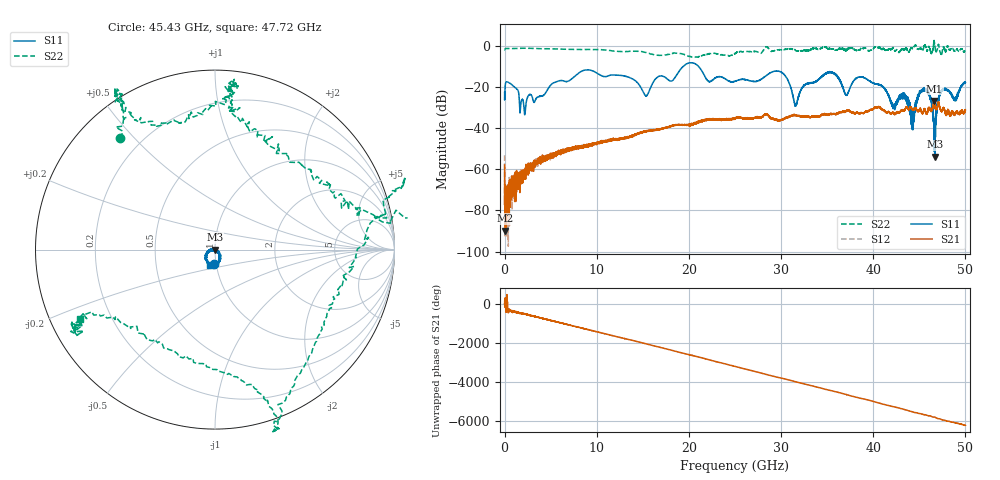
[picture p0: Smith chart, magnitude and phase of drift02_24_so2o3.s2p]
!Created with skrf (http://scikit-rf.org).
# Hz S RI R 50.0
!freq ReS11 ImS11 ReS21 ImS21 ReS12 ImS12 ReS22 ImS22
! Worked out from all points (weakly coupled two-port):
!   10001 points, 300 kHz to 50 GHz, reference 50 ohm
!   highest |S21| = -26.93 dB at 46.62 GHz (marker M1); lowest = -89.8 dB at 80.3 MHz (marker M2)
!   lowest |S11| = -53.9 dB at 46.68 GHz (marker M3), VSWR 1.00, Z = 49.8 + j0.036 ohm
!   |S11| at or under -10 dB: start of sweep to 19.41 GHz; 21 GHz to end of sweep
!   |S22| runs from -5.7 to 2.5 dB; largest |S21 - S12| = 0.0039
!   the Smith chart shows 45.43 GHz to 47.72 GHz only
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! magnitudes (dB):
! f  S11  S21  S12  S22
! 300 kHz  -22.8  -58.0  -53.3  -2.1
! 80.3 MHz  -18.8  -89.8  -83.7  -1.5
! 270.3 MHz  -17.6  -70.6  -79.3  -1.4
! 2.19 GHz  -33.5  -60.8  -61.4  -1.3
! 8.335 GHz  -12.5  -48.6  -48.8  -1.9
! 15.34 GHz  -24.4  -41.6  -41.9  -3.4
! 16.67 GHz  -15.1  -40.6  -40.7  -4.7
! 20.28 GHz  -8.3  -38.1  -38.3  -5.5
! 25 GHz  -17.3  -35.7  -35.4  -3.9
! 29.86 GHz  -12.6  -36.4  -36.3  -2.0
! 31.59 GHz  -29.0  -34.0  -33.9  -2.4
! 33.34 GHz  -18.1  -34.4  -34.4  -1.6
! 35.58 GHz  -13.4  -33.2  -33.2  -1.6
! 37.1 GHz  -24.1  -31.7  -31.7  -2.5
! 38.76 GHz  -15.3  -32.7  -32.6  -1.0
! 41.67 GHz  -24.3  -32.1  -32.3  -1.9
! 44.25 GHz  -33.2  -30.8  -31.1  -1.4
! 45.7 GHz  -21.7  -32.6  -32.4  -0.8
! 46.62 GHz  -50.1  -26.9  -27.0  2.1
! 46.68 GHz  -53.9  -28.8  -29.0  0.0
! 47.47 GHz  -21.8  -31.7  -31.8  -3.5
! 50 GHz  -17.9  -31.1  -31.7  -2.7
